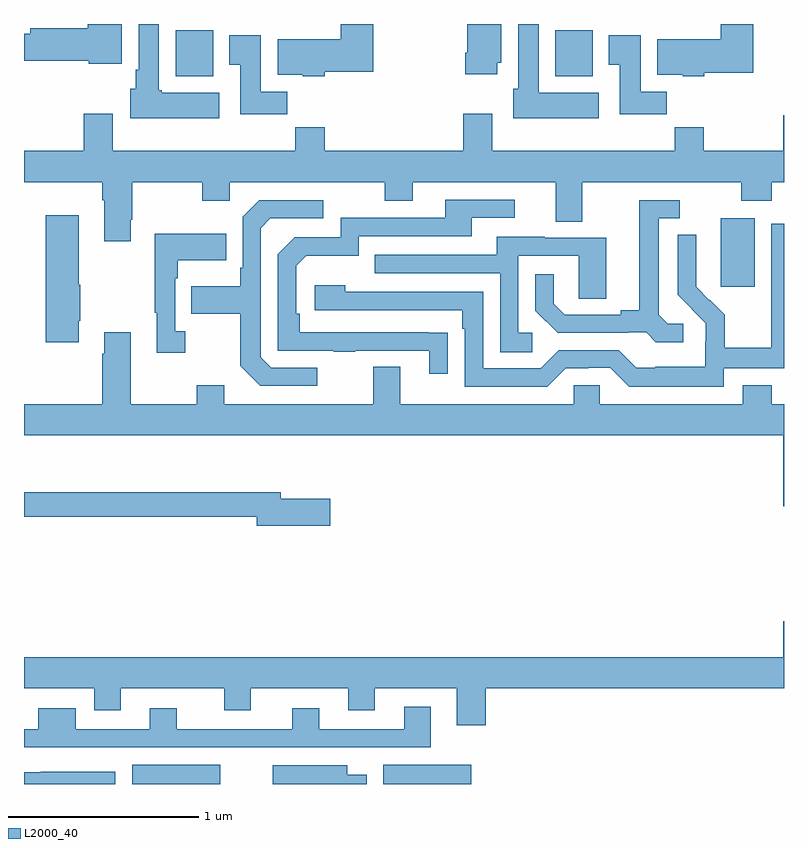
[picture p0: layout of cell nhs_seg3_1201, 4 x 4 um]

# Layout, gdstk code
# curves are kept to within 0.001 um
import gdstk
lib = gdstk.Library(unit=1e-6, precision=1e-09)
def R(c, l, rs):  # rectangles x0, y0, x1, y1
    for r in rs: c.add(gdstk.rectangle(r[:2], r[2:], *l))
def P(c, l, *ps):  # polygons
    for p in ps: c.add(gdstk.Polygon(p, *l))
L2000_40 = (2000, 40)

nhs_seg3_1201 = lib.new_cell('nhs_seg3_1201')
R(nhs_seg3_1201, L2000_40, [(173.57,712.4,174.034,712.501), (174.89,712.4,175.354,712.501), (176.666,715.017,176.845,715.378), (173.798,716.126,173.995,716.368), (175.796,716.126,175.993,716.368)])
P(nhs_seg3_1201, L2000_40, [(176.58,716.144),(176.837,716.144),(176.837,716.4),(176.666,716.4),(176.666,716.32),(176.333,716.32),(176.333,716.132),(176.466,716.132),(176.466,716.126),(176.58,716.126)],
  [(174.582,716.15),(174.839,716.15),(174.839,716.4),(174.668,716.4),(174.668,716.32),(174.335,716.32),(174.335,716.132),(174.468,716.132),(174.468,716.126),(174.582,716.126)],
  [(176.026,716.038),(175.708,716.038),(175.708,716.4),(175.601,716.4),(175.601,716.058),(175.574,716.058),(175.574,715.904),(176.026,715.904)],
  [(175.492,716.196),(175.513,716.196),(175.513,716.4),(175.334,716.4),(175.334,716.248),(175.322,716.248),(175.322,716.136),(175.492,716.136)],
  [(173.515,716.4),(173.336,716.4),(173.336,716.378),(173.033,716.378),(173.033,716.348),(173,716.348),(173,716.206),(173.34,716.206),(173.34,716.192),(173.515,716.192)],
  [(174.028,716.038),(173.724,716.038),(173.724,716.052),(173.71,716.052),(173.71,716.4),(173.603,716.4),(173.603,716.158),(173.588,716.158),(173.588,716.058),(173.558,716.058),(173.558,715.904),(174.028,715.904)],
  [(176.384,716.044),(176.245,716.044),(176.245,716.341),(176.078,716.341),(176.078,716.185),(176.135,716.185),(176.135,715.926),(176.384,715.926)],
  [(174.386,716.044),(174.247,716.044),(174.247,716.341),(174.08,716.341),(174.08,716.185),(174.137,716.185),(174.137,715.926),(174.386,715.926)],
  [(173.563,715.369),(173.571,715.369),(173.571,715.568),(173.938,715.568),(173.938,715.469),(174.084,715.469),(174.084,715.568),(174.898,715.568),(174.898,715.469),(175.045,715.469),(175.045,715.568),(175.799,715.568),(175.799,715.36),(175.939,715.36),(175.939,715.568),(176.776,715.568),(176.776,715.469),(176.936,715.469),(176.936,715.568),(177,715.568),(177,715.921),(176.996,715.921),(176.996,715.732),(176.577,715.732),(176.577,715.856),(176.425,715.856),(176.425,715.732),(175.465,715.732),(175.465,715.927),(175.313,715.927),(175.313,715.732),(174.584,715.732),(174.584,715.856),(174.427,715.856),(174.427,715.732),(173.467,715.732),(173.467,715.927),(173.315,715.927),(173.315,715.732),(173,715.732),(173,715.568),(173.411,715.568),(173.411,715.472),(173.423,715.472),(173.423,715.257),(173.563,715.257)],
  [(175.229,714.776),(174.452,714.777),(174.452,714.874),(174.432,714.874),(174.432,715.128),(174.485,715.181),(174.762,715.181),(174.762,715.284),(175.357,715.284),(175.357,715.38),(175.582,715.38),(175.582,715.476),(175.217,715.476),(175.217,715.38),(174.666,715.38),(174.666,715.278),(174.426,715.278),(174.336,715.188),(174.336,714.681),(174.631,714.681),(174.631,714.676),(174.743,714.676),(174.743,714.681),(175.133,714.681),(175.133,714.558),(175.229,714.558)],
  [(176.47,714.822),(176.388,714.822),(176.341,714.869),(176.341,715.377),(176.452,715.377),(176.452,715.473),(176.237,715.473),(176.237,714.893),(176.141,714.893),(176.141,714.87),(175.846,714.87),(175.789,714.927),(175.789,715.084),(175.692,715.084),(175.692,714.89),(175.808,714.774),(176.18,714.774),(176.18,714.777),(176.274,714.777),(176.326,714.725),(176.47,714.725)],
  [(174.544,714.591),(174.3,714.591),(174.246,714.645),(174.246,715.326),(174.297,715.377),(174.574,715.377),(174.574,715.473),(174.237,715.473),(174.15,715.386),(174.15,715.117),(174.138,715.117),(174.138,715.021),(173.881,715.021),(173.881,714.874),(174.138,714.874),(174.138,714.601),(174.243,714.495),(174.544,714.495)],
  [(173.287,714.838),(173.295,714.838),(173.295,715.027),(173.287,715.027),(173.287,715.393),(173.114,715.393),(173.114,714.726),(173.287,714.726)],
  [(176.682,714.588),(177,714.588),(177,715.35),(176.934,715.35),(176.934,714.92),(176.932,714.92),(176.932,714.697),(176.687,714.697),(176.687,714.871),(176.61,714.948),(176.607,714.945),(176.537,715.016),(176.538,715.292),(176.442,715.292),(176.442,714.974),(176.588,714.826),(176.588,714.729),(176.586,714.729),(176.586,714.595),(176.323,714.595),(176.323,714.591),(176.223,714.591),(176.13,714.684),(175.815,714.684),(175.719,714.588),(175.416,714.588),(175.416,714.99),(174.692,714.99),(174.692,715.024),(174.531,715.024),(174.531,714.894),(175.307,714.894),(175.307,714.797),(175.32,714.797),(175.32,714.492),(175.755,714.492),(175.851,714.588),(175.97,714.588),(175.97,714.591),(176.085,714.591),(176.185,714.491),(176.682,714.491)],
  [(173.848,714.782),(173.796,714.782),(173.796,715.061),(173.809,715.061),(173.809,715.157),(174.065,715.157),(174.065,715.297),(173.688,715.297),(173.688,714.881),(173.699,714.881),(173.699,714.669),(173.848,714.669)],
  [(175.675,714.774),(175.602,714.774),(175.602,715.179),(175.92,715.179),(175.92,714.955),(176.065,714.955),(176.065,715.275),(175.741,715.275),(175.741,715.279),(175.487,715.279),(175.487,715.185),(174.847,715.185),(174.847,715.089),(175.506,715.089),(175.506,714.673),(175.675,714.673)],
  [(177,714.4),(176.936,714.4),(176.936,714.499),(176.783,714.499),(176.783,714.4),(176.031,714.4),(176.031,714.498),(175.893,714.498),(175.893,714.4),(174.979,714.4),(174.979,714.595),(174.839,714.595),(174.839,714.4),(174.055,714.4),(174.055,714.499),(173.908,714.499),(173.908,714.4),(173.563,714.4),(173.563,714.778),(173.423,714.778),(173.423,714.665),(173.411,714.665),(173.411,714.4),(173,714.4),(173,714.236),(176.996,714.236),(176.996,713.862),(177,713.862)],
  [(174.613,713.901),(174.352,713.901),(174.352,713.935),(173,713.935),(173,713.806),(174.224,713.806),(174.224,713.759),(174.613,713.759)],
  [(175.43,712.904),(177,712.904),(177,713.257),(176.996,713.257),(176.996,713.068),(173,713.068),(173,712.904),(173.369,712.904),(173.369,712.787),(173.509,712.787),(173.509,712.904),(174.053,712.904),(174.053,712.787),(174.193,712.787),(174.193,712.904),(174.707,712.904),(174.707,712.787),(174.847,712.787),(174.847,712.904),(175.277,712.904),(175.277,712.71),(175.43,712.71)],
  [(175.141,712.807),(175.001,712.807),(175.001,712.689),(174.553,712.689),(174.553,712.798),(174.413,712.798),(174.413,712.689),(173.803,712.689),(173.803,712.798),(173.663,712.798),(173.663,712.689),(173.272,712.689),(173.272,712.798),(173.075,712.798),(173.075,712.689),(173,712.689),(173,712.593),(175.141,712.593)],
  [(174.805,712.45),(174.7,712.45),(174.7,712.498),(174.308,712.498),(174.308,712.4),(174.805,712.4)],
  [(173.479,712.464),(173.089,712.464),(173.089,712.463),(173,712.463),(173,712.4),(173.479,712.4)])

lib.write_gds('nhs_seg3_1201.gds')
